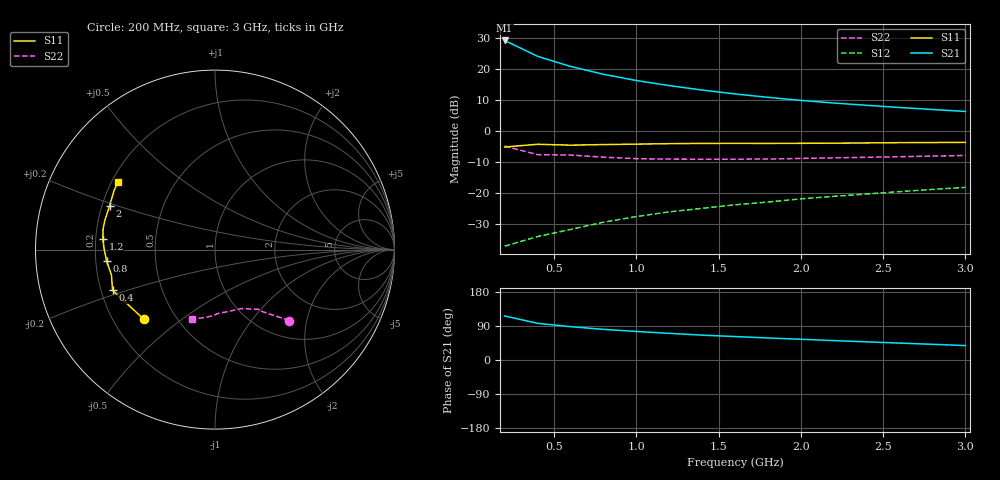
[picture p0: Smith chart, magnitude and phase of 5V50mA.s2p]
#  HZ  S  MA  R  50.0000
! Device:MCH4015
! "! Bias:VCE=5V, IC=50mA  "
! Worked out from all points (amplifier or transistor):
!   15 points, 200 MHz to 3 GHz, reference 50 ohm
!   highest |S21| = 29.2 dB at 200 MHz (marker M1)
!   |S21| within 3 dB of that: start of sweep to 317.5 MHz
!   unconditionally stable (mu >= 1): 1.555 GHz to 2.522 GHz
!   at 600 MHz: K = 0.84, MSG = 26.3 dB, |S12| = -31.7 dB
!   at 1.6 GHz: K = 1.01, MAG = 17.4 dB, |S12| = -23.7 dB
!   at 3 GHz: K = 0.96, MSG = 12.2 dB, |S12| = -18.1 dB
!   S11 on the Smith chart (normalised r, x): 200 MHz: 0.33, -0.37; 400 MHz: 0.25, -0.18; 800 MHz: 0.25, -0.05; 1.2 GHz: 0.23, +0.04; 2 GHz: 0.23, +0.19; 3 GHz: 0.22, +0.30
2e8  0.555 -135.7  28.91 116.1  0.014 55.3  0.573 -43.6
4e8  0.614 -158.4  16.06 96.8  0.02 60.7  0.418 -54.2
6e8  0.594 -166.1  11.04 88.0  0.026 66.9  0.412 -53.9
8e8  0.607 -173.8  8.244 80.9  0.034 70.6  0.38 -60.3
1e9  0.617 -180.0  6.541 75.4  0.042 72.9  0.36 -65.9
1.2e9  0.628 174.7  5.417 70.4  0.05 73.1  0.354 -71.6
1.4e9  0.634 169.5  4.59 65.6  0.057 74.0  0.353 -77.4
1.6e9  0.635 164.9  3.977 61.9  0.065 73.7  0.353 -82.6
1.8e9  0.634 160.8  3.502 58.1  0.072 73.9  0.355 -86.6
2e9  0.636 157.5  3.128 54.7  0.081 73.8  0.363 -89.9
2.2e9  0.64 154.8  2.837 51.2  0.089 73.2  0.371 -93.4
2.4e9  0.645 152.2  2.606 47.9  0.097 72.7  0.379 -96.9
2.6e9  0.652 149.5  2.403 44.6  0.106 72.0  0.387 -100.7
2.8e9  0.655 147.2  2.232 41.4  0.115 71.1  0.396 -104.4
3e9  0.659 145.2  2.077 38.1  0.124 70.1  0.405 -108.4
